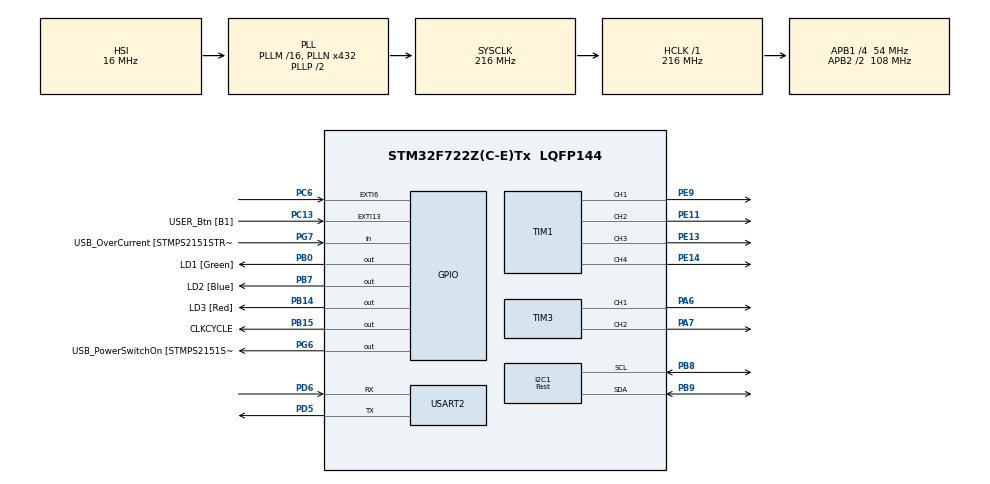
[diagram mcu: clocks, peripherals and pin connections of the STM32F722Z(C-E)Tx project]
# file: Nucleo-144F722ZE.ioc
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Dma.Request0=USART2_RX
Dma.Request1=USART2_TX
Dma.USART2_RX.0.Direction=DMA_PERIPH_TO_MEMORY
Dma.USART2_RX.0.FIFOMode=DMA_FIFOMODE_DISABLE
Dma.USART2_RX.0.Instance=DMA1_Stream5
Dma.USART2_RX.0.MemDataAlignment=DMA_MDATAALIGN_BYTE
Dma.USART2_RX.0.MemInc=DMA_MINC_ENABLE
Dma.USART2_RX.0.Mode=DMA_NORMAL
Dma.USART2_RX.0.PeriphDataAlignment=DMA_PDATAALIGN_BYTE
Dma.USART2_RX.0.PeriphInc=DMA_PINC_DISABLE
Dma.USART2_RX.0.Priority=DMA_PRIORITY_LOW
Dma.USART2_TX.1.Direction=DMA_MEMORY_TO_PERIPH
Dma.USART2_TX.1.FIFOMode=DMA_FIFOMODE_DISABLE
Dma.USART2_TX.1.Instance=DMA1_Stream6
Dma.USART2_TX.1.MemDataAlignment=DMA_MDATAALIGN_BYTE
Dma.USART2_TX.1.MemInc=DMA_MINC_ENABLE
Dma.USART2_TX.1.Mode=DMA_NORMAL
Dma.USART2_TX.1.PeriphDataAlignment=DMA_PDATAALIGN_BYTE
Dma.USART2_TX.1.PeriphInc=DMA_PINC_DISABLE
Dma.USART2_TX.1.Priority=DMA_PRIORITY_LOW
I2C1.Analog_Filter=I2C_ANALOGFILTER_ENABLE
I2C1.I2C_Speed_Mode=I2C_Fast
I2C1.Timing=0x6000030D
Mcu.Family=STM32F7
Mcu.Name=STM32F722Z(C-E)Tx
Mcu.Package=LQFP144
NVIC.DMA1_Stream5_IRQn=true\:0\:0\:false\:false\:true\:false
NVIC.DMA1_Stream6_IRQn=true\:0\:0\:false\:false\:true\:false
NVIC.EXTI15_10_IRQn=true\:0\:0\:false\:false\:true\:true
NVIC.EXTI9_5_IRQn=true\:0\:0\:false\:false\:true\:true
NVIC.PriorityGroup=NVIC_PRIORITYGROUP_4
PA10.GPIO_Label=USB_ID
PA10.Signal=USB_OTG_FS_ID
PA11.GPIO_Label=USB_DM
PA11.Signal=USB_OTG_FS_DM
PA12.GPIO_Label=USB_DP
PA12.Signal=USB_OTG_FS_DP
PA13.GPIO_Label=TMS
PA13.Mode=Serial_Wire
PA13.Signal=SYS_JTMS-SWDIO
PA14.GPIO_Label=TCK
PA14.Mode=Serial_Wire
PA14.Signal=SYS_JTCK-SWCLK
PA6.Signal=S_TIM3_CH1
PA7.Signal=S_TIM3_CH2
PA8.GPIO_Label=USB_SOF [TP1]
PA8.Signal=USB_OTG_FS_SOF
PA9.GPIO_Label=USB_VBUS
PA9.Signal=USB_OTG_FS_VBUS
PB0.GPIO_Label=LD1 [Green]
PB0.Signal=GPIO_Output
PB14.GPIO_Label=LD3 [Red]
PB14.Signal=GPIO_Output
PB15.GPIO_Label=CLKCYCLE
PB15.GPIO_Speed=GPIO_SPEED_FREQ_VERY_HIGH
PB15.Signal=GPIO_Output
PB3.GPIO_Label=SWO
PB3.Signal=SYS_JTDO-SWO
PB7.GPIO_Label=LD2 [Blue]
PB7.Signal=GPIO_Output
PB8.GPIO_FM8=__NULL
PB8.GPIO_PuPdOD=GPIO_NOPULL
PB8.Mode=I2C
PB8.Signal=I2C1_SCL
PB9.Mode=I2C
PB9.Signal=I2C1_SDA
PC13.GPIO_Label=USER_Btn [B1]
PC13.Signal=GPXTI13
PC14-OSC32_IN.Mode=LSE-External-Clock-Source
PC14-OSC32_IN.Signal=RCC_OSC32_IN
PC15-OSC32_OUT.Mode=LSE-External-Clock-Source
PC15-OSC32_OUT.Signal=RCC_OSC32_OUT
PC6.GPIO_PuPd=GPIO_PULLDOWN
PC6.Signal=GPXTI6
PD5.Mode=Asynchronous
PD5.Signal=USART2_TX
PD6.Mode=Asynchronous
PD6.Signal=USART2_RX
PD8.GPIO_Label=STLK_RX [STM32F103CBT6_PA3]
PD8.Signal=USART3_TX
PD9.GPIO_Label=STLK_TX [STM32F103CBT6_PA2]
PD9.Signal=USART3_RX
PE11.Signal=S_TIM1_CH2
PE13.Signal=S_TIM1_CH3
PE14.Signal=S_TIM1_CH4
PE9.Signal=S_TIM1_CH1
PG6.GPIO_Label=USB_PowerSwitchOn [STMPS2151STR_EN]
PG6.Signal=GPIO_Output
PG7.GPIO_Label=USB_OverCurrent [STMPS2151STR_FAULT]
PG7.Signal=GPIO_Input
PH0-OSC_IN.GPIO_Label=MCO
PH0-OSC_IN.Mode=HSE-External-Clock-Source
PH0-OSC_IN.Signal=RCC_OSC_IN
PH1-OSC_OUT.Mode=HSE-External-Clock-Source
PH1-OSC_OUT.Signal=RCC_OSC_OUT
ProjectManager.HeapSize=0x2000
ProjectManager.StackSize=0x4000
ProjectManager.TargetToolchain=SW4STM32
RCC.48MHZClocksFreq_Value=24000000
RCC.AHBFreq_Value=216000000
RCC.APB1CLKDivider=RCC_HCLK_DIV4
RCC.APB1Freq_Value=54000000
RCC.APB1TimFreq_Value=108000000
RCC.APB2CLKDivider=RCC_HCLK_DIV2
RCC.APB2Freq_Value=108000000
RCC.APB2TimFreq_Value=216000000
RCC.CortexFreq_Value=216000000
RCC.HCLKFreq_Value=216000000
RCC.HSE_VALUE=8000000
RCC.HSI_VALUE=16000000
RCC.LSE_VALUE=32768
RCC.PLLMUL=RCC_PLL_MUL9
RCC.PLLN=432
RCC.PLLQ=9
RCC.PRESCALERUSB=RCC_USBCLKSOURCE_PLL_DIV1_5
RCC.SDMMCClockSelection=RCC_SDMMC1CLKSOURCE_CLK48
RCC.SYSCLKFreq_VALUE=216000000
RCC.SYSCLKSource=RCC_SYSCLKSOURCE_PLLCLK
RCC.SYSCLKSourceVirtual=RCC_SYSCLKSOURCE_PLLCLK
RCC.USART2CLockSelection=RCC_USART2CLKSOURCE_SYSCLK
RCC.USBFreq_Value=48000000
RCC.VCOOutputFreq_Value=432000000
SH.S_TIM1_CH1.0=TIM1_CH1,PWM Generation1 CH1
SH.S_TIM1_CH2.0=TIM1_CH2,PWM Generation2 CH2
SH.S_TIM1_CH3.0=TIM1_CH3,PWM Generation3 CH3
SH.S_TIM1_CH4.0=TIM1_CH4,PWM Generation4 CH4
SH.S_TIM3_CH1.0=TIM3_CH1,PWM Generation1 CH1
SH.S_TIM3_CH2.0=TIM3_CH2,PWM Generation2 CH2
TIM1.Channel-PWM\ Generation1\ CH1=TIM_CHANNEL_1
TIM1.Channel-PWM\ Generation2\ CH2=TIM_CHANNEL_2
TIM1.Channel-PWM\ Generation3\ CH3=TIM_CHANNEL_3
TIM1.Channel-PWM\ Generation4\ CH4=TIM_CHANNEL_4
TIM2.Period=1
TIM2.TIM_MasterOutputTrigger=TIM_TRGO_UPDATE
TIM3.Channel-PWM\ Generation1\ CH1=TIM_CHANNEL_1
TIM3.Channel-PWM\ Generation2\ CH2=TIM_CHANNEL_2
USART2.VirtualMode-Asynchronous=VM_ASYNC
VP_TIM1_VS_ClockSourceINT.Mode=Internal
VP_TIM2_VS_ClockSourceINT.Mode=Internal
VP_TIM3_VS_ClockSourceINT.Mode=Internal
board=NUCLEO-F722ZE

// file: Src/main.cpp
/* USER CODE BEGIN Header */
/**
  ******************************************************************************
  * @file           : main.c
  * @brief          : Main program body
  ******************************************************************************
  ** This notice applies to any and all portions of this file
  * that are not between comment pairs USER CODE BEGIN and
  * USER CODE END. Other portions of this file, whether
  * inserted by the user or by software development tools
  * are owned by their respective copyright owners.
  *
  * COPYRIGHT(c) 2019 STMicroelectronics
  *
  * Redistribution and use in source and binary forms, with or without modification,
  * are permitted provided that the following conditions are met:
  *   1. Redistributions of source code must retain the above copyright notice,
  *      this list of conditions and the following disclaimer.
  *   2. Redistributions in binary form must reproduce the above copyright notice,
  *      this list of conditions and the following disclaimer in the documentation
  *      and/or other materials provided with the distribution.
  *   3. Neither the name of STMicroelectronics nor the names of its contributors
  *      may be used to endorse or promote products derived from this software
  *      without specific prior written permission.
  *
  * THIS SOFTWARE IS PROVIDED BY THE COPYRIGHT HOLDERS AND CONTRIBUTORS "AS IS"
  * AND ANY EXPRESS OR IMPLIED WARRANTIES, INCLUDING, BUT NOT LIMITED TO, THE
  * IMPLIED WARRANTIES OF MERCHANTABILITY AND FITNESS FOR A PARTICULAR PURPOSE ARE
  * DISCLAIMED. IN NO EVENT SHALL THE COPYRIGHT HOLDER OR CONTRIBUTORS BE LIABLE
  * FOR ANY DIRECT, INDIRECT, INCIDENTAL, SPECIAL, EXEMPLARY, OR CONSEQUENTIAL
  * DAMAGES (INCLUDING, BUT NOT LIMITED TO, PROCUREMENT OF SUBSTITUTE GOODS OR
  * SERVICES; LOSS OF USE, DATA, OR PROFITS; OR BUSINESS INTERRUPTION) HOWEVER
  * CAUSED AND ON ANY THEORY OF LIABILITY, WHETHER IN CONTRACT, STRICT LIABILITY,
  * OR TORT (INCLUDING NEGLIGENCE OR OTHERWISE) ARISING IN ANY WAY OUT OF THE USE
  * OF THIS SOFTWARE, EVEN IF ADVISED OF THE POSSIBILITY OF SUCH DAMAGE.
  *
  ******************************************************************************
  */
/* USER CODE END Header */

#include "MPU6050.h"
#include "main.h"
#include "i2c.h"
#include "tim.h"
#include "usart.h"
#include "dma.h"
#include "gpio.h"

/* USER CODE BEGIN Includes */
#define PI 3.14159265359
/* USER CODE END Includes */

void SystemClock_Config(void);

/* USER CODE BEGIN 0 */
char read[5];
int a;
uint8_t g[3];
float gyro_X,gyro_Y,gyro_Z,temp;

//I2cdev MPU6050
MPU6050 mpu;
uint16_t packetSize;
uint16_t fifoCount;
uint8_t fifoBuffer[64];
Quaternion q;
VectorFloat gravity;
float ypr[3];
/* USER CODE END 0 */

int main(void)
{

  /* MCU Configuration--------------------------------------------------------*/

  /* Reset of all peripherals, Initializes the Flash interface and the Systick. */
  HAL_Init();

  /* Configure the system clock */
  SystemClock_Config();

  /* Initialize all configured peripherals */
  MX_GPIO_Init();
  MX_USART2_UART_Init();
  MX_TIM1_Init();
  MX_TIM3_Init();
  MX_TIM2_Init();
  MX_I2C1_Init();
  /* USER CODE BEGIN 2 */

  HAL_TIM_Base_Start(&htim2);
  char txt[32];
  HAL_UART_Transmit(&huart2,(uint8_t*)txt,sprintf(txt, "Start8 \r\n"),1000);

  for(uint8_t i=0 ; i <255;i++)
    {
        if(HAL_I2C_IsDeviceReady(&hi2c1,i,1 ,10) == HAL_OK )
        {
           HAL_GPIO_TogglePin(LD2_GPIO_Port, LD2_Pin); // @suppress("Invalid arguments")// @suppress("Symbol is not resolved")
           g[2] = i;
           break;
        }
     }
  	HAL_Delay(2000);
  	HAL_GPIO_TogglePin(LD2_GPIO_Port, LD2_Pin);
    //Sensors::MPU6050::Init();

    //I2cdev MPU6050
    mpu.initialize();
	mpu.dmpInitialize();
	mpu.setXGyroOffset(82);
	mpu.setYGyroOffset(-23);
	mpu.setZGyroOffset(-25);

	mpu.setXAccelOffset(686);
	mpu.setYAccelOffset(-3251);
	mpu.setZAccelOffset(1029);
	mpu.setDMPEnabled(true);
	packetSize = mpu.dmpGetFIFOPacketSize();
	fifoCount = mpu.getFIFOCount();

  /* USER CODE END 2 */

  /* Infinite loop */
  /* USER CODE BEGIN WHILE */
  while (1)
  {

	  while (fifoCount < packetSize) {

	          //insert here your code

	          fifoCount = mpu.getFIFOCount();

	      }

	      if (fifoCount >= 1024) {

	          mpu.resetFIFO();
	          //Serial.println(F("FIFO overflow!"));

	      }
	      else{

	        if (fifoCount % packetSize != 0) {

	            mpu.resetFIFO();
	            fifoCount = mpu.getFIFOCount();

	      }
	          else{

	              while (fifoCount >= packetSize) {

	                  mpu.getFIFOBytes(fifoBuffer,packetSize);
	                  fifoCount -= packetSize;

	              }

	              mpu.dmpGetQuaternion(&q,fifoBuffer);
	              mpu.dmpGetGravity(&gravity,&q);
	              mpu.dmpGetYawPitchRoll(ypr,&q,&gravity);

	              char txt[32];

	             HAL_UART_Transmit(&huart2,(uint8_t*)txt,sprintf(txt, "NUM: %u \t", a),100);
				 HAL_UART_Transmit(&huart2,(uint8_t*)txt,sprintf(txt, "GYROX: %2.3f \t", ypr[1]*180/PI),100); // @suppress("Float formatting support")
				 HAL_UART_Transmit(&huart2,(uint8_t*)txt,sprintf(txt, "GYROY: %2.3f \t", ypr[2]*180/PI),100); // @suppress("Float formatting support")
				 HAL_UART_Transmit(&huart2,(uint8_t*)txt,sprintf(txt, "GYROZ: %2.3f \n\r", ypr[0]*180/PI),100); // @suppress("Float formatting support")

	      }

	      }

	 a++;

	 HAL_Delay(50);
    /* USER CODE END WHILE */

  }
}

void SystemClock_Config(void)
{
  RCC_OscInitTypeDef RCC_OscInitStruct = {0};
  RCC_ClkInitTypeDef RCC_ClkInitStruct = {0};
  RCC_PeriphCLKInitTypeDef PeriphClkInitStruct = {0};

  /**Configure the main internal regulator output voltage
  */
  __HAL_RCC_PWR_CLK_ENABLE();
  __HAL_PWR_VOLTAGESCALING_CONFIG(PWR_REGULATOR_VOLTAGE_SCALE1);
  /**Initializes the CPU, AHB and APB busses clocks
  */
  RCC_OscInitStruct.OscillatorType = RCC_OSCILLATORTYPE_HSI;
  RCC_OscInitStruct.HSIState = RCC_HSI_ON;
  RCC_OscInitStruct.HSICalibrationValue = RCC_HSICALIBRATION_DEFAULT;
  RCC_OscInitStruct.PLL.PLLState = RCC_PLL_ON;
  RCC_OscInitStruct.PLL.PLLSource = RCC_PLLSOURCE_HSI;
  RCC_OscInitStruct.PLL.PLLM = 16;
  RCC_OscInitStruct.PLL.PLLN = 432;
  RCC_OscInitStruct.PLL.PLLP = RCC_PLLP_DIV2;
  RCC_OscInitStruct.PLL.PLLQ = 9;
  if (HAL_RCC_OscConfig(&RCC_OscInitStruct) != HAL_OK)
  {
    Error_Handler();
  }
  /**Activate the Over-Drive mode
  */
  if (HAL_PWREx_EnableOverDrive() != HAL_OK)
  {
    Error_Handler();
  }
  /**Initializes the CPU, AHB and APB busses clocks
  */
  RCC_ClkInitStruct.ClockType = RCC_CLOCKTYPE_HCLK|RCC_CLOCKTYPE_SYSCLK
                              |RCC_CLOCKTYPE_PCLK1|RCC_CLOCKTYPE_PCLK2;
  RCC_ClkInitStruct.SYSCLKSource = RCC_SYSCLKSOURCE_PLLCLK;
  RCC_ClkInitStruct.AHBCLKDivider = RCC_SYSCLK_DIV1;
  RCC_ClkInitStruct.APB1CLKDivider = RCC_HCLK_DIV4;
  RCC_ClkInitStruct.APB2CLKDivider = RCC_HCLK_DIV2;

  if (HAL_RCC_ClockConfig(&RCC_ClkInitStruct, FLASH_LATENCY_7) != HAL_OK)
  {
    Error_Handler();
  }
  PeriphClkInitStruct.PeriphClockSelection = RCC_PERIPHCLK_USART2|RCC_PERIPHCLK_I2C1;
  PeriphClkInitStruct.Usart2ClockSelection = RCC_USART2CLKSOURCE_SYSCLK;
  PeriphClkInitStruct.I2c1ClockSelection = RCC_I2C1CLKSOURCE_PCLK1;
  if (HAL_RCCEx_PeriphCLKConfig(&PeriphClkInitStruct) != HAL_OK)
  {
    Error_Handler();
  }
}

void Error_Handler(void)
{
}

/************************ (C) COPYRIGHT STMicroelectronics *****END OF FILE****/
